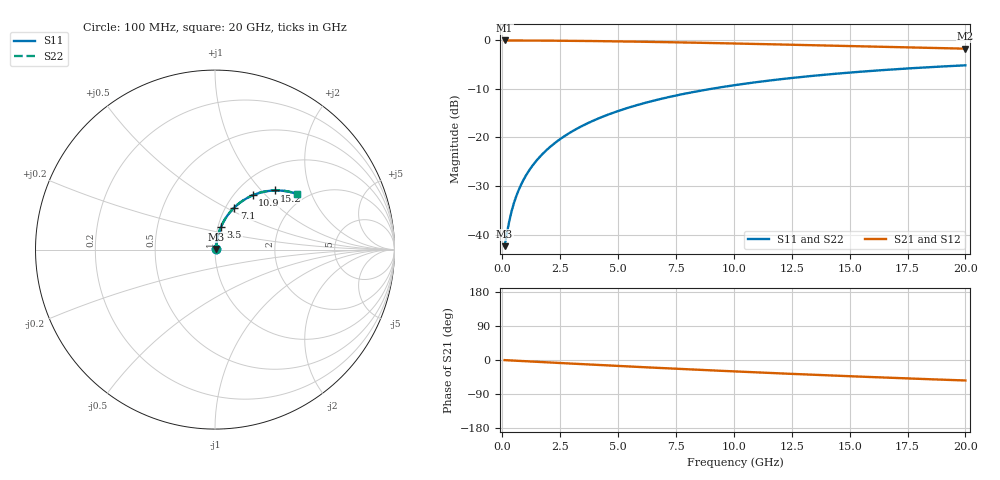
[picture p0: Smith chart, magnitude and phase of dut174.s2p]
! Touchstone file exported from HFSS 2026.1.0
!  File:  C:/ffzhzh/LocalFiles/Ansys_Project_Files/temp_train_TMRDL_174_1782983531_6248.aedt
!  Generated:  05:13:24 PM Jul  2, 2026
!  Design:  TMRDL
!  Project:  temp_train_TMRDL_174_1782983531_6248
! Variables:
!  h_bsmrdl = 2um
!  h_ox = 20um
!  h_rdl = 5um
!  h_sub = 80um
!  h_tmrdl = 3.81um
!  h_tsv = 80um
!  h_via = 3um
!  l_bsmrdl = 300um
!  l_sub = 1186.87um
!  l_tmrdl = 786.87um
!  m_sub = 200um
!  pitch = 41.23um
!  r_tsv = 6um
!  s_tmrdl = 10um
!  w_bsmrdl = 18um
!  w_sub = 500um
!  w_tmrdl = 11.3um
!  x_tsv_center1 = 792.52um
!  x_tsv_center2 = 1110.52um
!  x_tsv_center3 = 1908.69um
!  x_tsv_center4 = 2226.69um
!  x_tsv_center5 = 3024.86um
!  x_tsv_center6 = 3342.86um
# GHz S MA R 50.000000
! Terminal data exported
! Port[1] = TM_RDL1_1_T1
! Port[2] = TM_RDL1_1_T2
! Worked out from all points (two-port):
!   200 points, 100 MHz to 20 GHz, reference 50 ohm
!   highest |S21| = -0.06 dB at 100 MHz (marker M1); lowest = -1.7 dB at 20 GHz (marker M2)
!   |S21| within 3 dB of the highest: start of sweep to end of sweep
!   lowest |S11| = -42.4 dB at 100 MHz (marker M3), VSWR 1.02, Z = 50.6 + j0.404 ohm
!   |S11| at or under -10 dB: start of sweep to 9.04 GHz
!   |S22| runs from -42.4 to -5.2 dB; largest |S21 - S12| = 5.1e-15
!   S11 on the Smith chart (normalised r, x): 100 MHz: 1.01, +0.01; 3.5 GHz: 1.04, +0.27; 7.1 GHz: 1.10, +0.55; 10.9 GHz: 1.21, +0.84; 15.2 GHz: 1.41, +1.19; 20 GHz: 1.78, +1.58
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0.1  0.007595 31.7  0.9936 -0.3  0.9936 -0.3  0.007595 31.7
! Gamma 0 0 0 0
! Port Impedance 50 0 50 0
0.3  0.01371 60.1  0.9933 -1.0  0.9933 -1.0  0.01371 60.1
0.4  0.0173 65.8  0.9931 -1.3  0.9931 -1.3  0.0173 65.8
0.5  0.02098 69.3  0.9929 -1.6  0.9929 -1.6  0.02098 69.3
0.6  0.02471 71.6  0.9927 -1.9  0.9927 -1.9  0.0247 71.6
0.8  0.03219 74.5  0.9923 -2.6  0.9923 -2.6  0.03219 74.5
1.1  0.04346 76.6  0.9917 -3.5  0.9917 -3.5  0.04346 76.6
1.5  0.05853 77.6  0.9907 -4.8  0.9907 -4.8  0.05852 77.7
2.1  0.08109 77.6  0.9888 -6.7  0.9888 -6.7  0.08109 77.6
2.7  0.1035 76.8  0.9863 -8.6  0.9863 -8.6  0.1035 76.8
3.5  0.133 75.1  0.9823 -11.1  0.9823 -11.1  0.133 75.1
4.2  0.1583 73.3  0.978 -13.2  0.978 -13.2  0.1583 73.3
5  0.1866 71.2  0.9723 -15.7  0.9723 -15.7  0.1866 71.2
6.8  0.2472 66.2  0.9573 -21.0  0.9573 -21.0  0.2472 66.3
7.1  0.2569 65.4  0.9545 -21.9  0.9545 -21.9  0.2569 65.5
8.5  0.3003 61.6  0.9408 -25.9  0.9408 -25.9  0.3003 61.6
10.1  0.3463 57.3  0.924 -30.3  0.924 -30.3  0.3463 57.4
10.9  0.3679 55.2  0.9153 -32.5  0.9153 -32.5  0.3679 55.3
13.4  0.4294 49.0  0.8875 -38.9  0.8875 -38.9  0.4294 49.1
15.2  0.4682 44.7  0.8675 -43.3  0.8675 -43.3  0.4682 44.8
16.7  0.4973 41.3  0.8513 -46.8  0.8513 -46.8  0.4973 41.4
20  0.5512 34.2  0.8178 -54.1  0.8178 -54.1  0.5512 34.3
